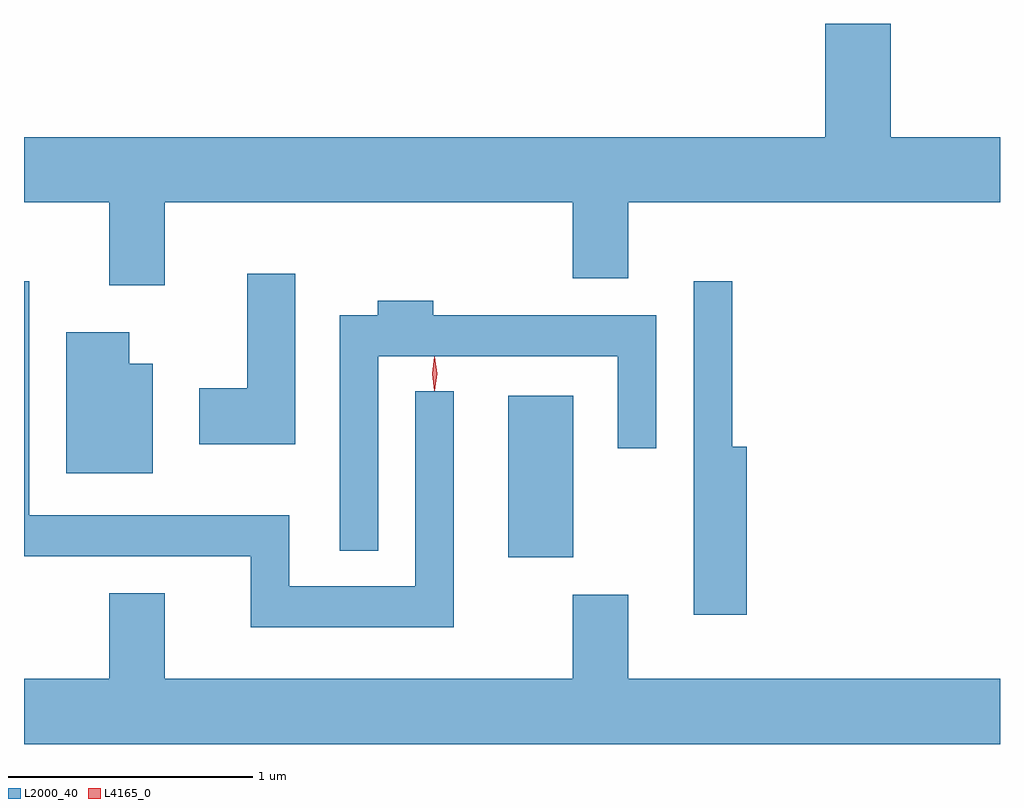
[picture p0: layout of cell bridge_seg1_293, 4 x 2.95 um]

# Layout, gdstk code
import gdstk
lib = gdstk.Library(unit=1e-6, precision=1e-09)
def R(c, l, rs):  # rectangles x0, y0, x1, y1
    for r in rs: c.add(gdstk.rectangle(r[:2], r[2:], *l))
def P(c, l, *ps):  # polygons
    for p in ps: c.add(gdstk.Polygon(p, *l))
L2000_40 = (2000, 40)
L4165_0 = (4165, 0)

bridge_seg1_293 = lib.new_cell('bridge_seg1_293')
R(bridge_seg1_293, L2000_40, [(851.286,898.121,851.554,898.784)])
P(bridge_seg1_293, L2000_40, [(849.879,899.576),(851.551,899.576),(851.551,899.266),(851.779,899.266),(851.779,899.576),(853.302,899.576),(853.302,899.844),(852.854,899.844),(852.854,900.308),(852.586,900.308),(852.586,899.844),(849.302,899.844),(849.302,899.576),(849.651,899.576),(849.651,899.236),(849.879,899.236)],
  [(850.414,899.284),(850.216,899.284),(850.216,898.814),(850.021,898.814),(850.021,898.586),(850.414,898.586)],
  [(851.064,898.803),(850.906,898.803),(850.906,898.004),(850.389,898.004),(850.389,898.294),(849.324,898.294),(849.324,899.253),(849.302,899.253),(849.302,898.126),(850.231,898.126),(850.231,897.836),(851.064,897.836)],
  [(852.264,898.574),(852.204,898.574),(852.204,899.253),(852.046,899.253),(852.046,897.886),(852.264,897.886)],
  [(850.754,898.946),(851.736,898.946),(851.736,898.568),(851.894,898.568),(851.894,899.114),(850.979,899.114),(850.979,899.174),(850.751,899.174),(850.751,899.114),(850.596,899.114),(850.596,898.148),(850.754,898.148)],
  [(849.829,898.914),(849.734,898.914),(849.734,899.044),(849.476,899.044),(849.476,898.466),(849.829,898.466)],
  [(853.302,897.624),(851.779,897.624),(851.779,897.969),(851.551,897.969),(851.551,897.624),(849.879,897.624),(849.879,897.974),(849.651,897.974),(849.651,897.624),(849.302,897.624),(849.302,897.356),(853.302,897.356)])
P(bridge_seg1_293, L4165_0, [(850.984,898.807),(850.975,898.874),(850.984,898.94),(850.985,898.941),(850.985,898.94),(850.995,898.874),(850.985,898.807),(850.985,898.807)],
  [(850.984,898.804),(850.975,898.873),(850.984,898.943),(850.985,898.943),(850.985,898.943),(850.995,898.873),(850.985,898.804),(850.985,898.804)])

lib.write_gds('bridge_seg1_293.gds')
